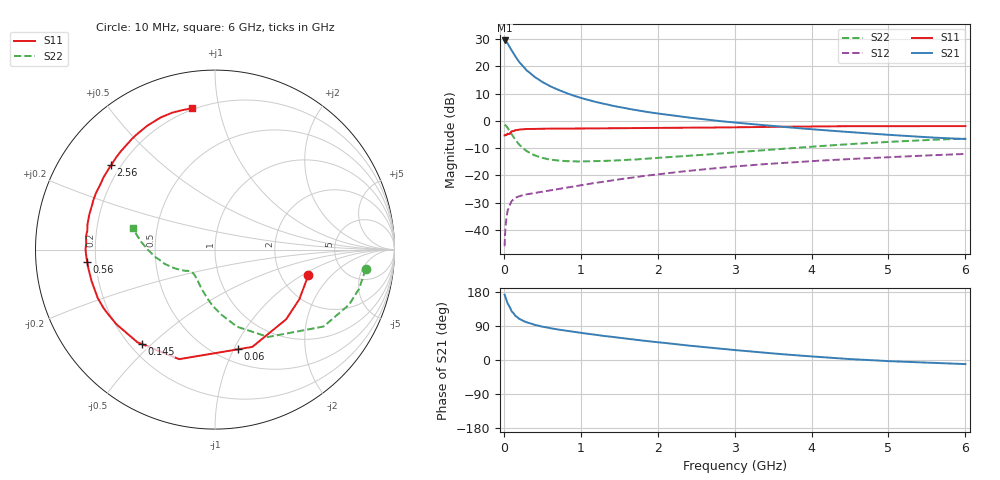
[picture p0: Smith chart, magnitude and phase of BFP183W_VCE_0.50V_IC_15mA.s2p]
! Infineon Technologies  Discrete & RF Semiconductors
! BFP183W
! VCE = 0.50V,  IC =  15 mA
! Common Emitter S-Parameters:  Jan 2016
# GHz  S  MA  R  50
!  f  S11  S21  S12  S22
! GHz  MAG  ANG  MAG  ANG  MAG  ANG  MAG  ANG
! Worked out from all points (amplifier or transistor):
!   210 points, 10 MHz to 6 GHz, reference 50 ohm
!   highest |S21| = 29.5 dB at 10 MHz (marker M1)
!   |S21| within 3 dB of that: start of sweep to 87.6 MHz
!   unconditionally stable (mu >= 1): 548.9 MHz to end of sweep
!   at 185 MHz: K = 0.44, MSG = 25.0 dB, |S12| = -27.9 dB
!   at 1.52 GHz: K = 1.58, MAG = 8.7 dB, |S12| = -21.4 dB
!   at 6 GHz: K = 1.41, MAG = -1.1 dB, |S12| = -12.2 dB
!   S11 on the Smith chart (normalised r, x): 10 MHz: 2.82, -1.15; 60 MHz: 0.63, -1.04; 145 MHz: 0.25, -0.46; 560 MHz: 0.17, -0.05; 2.56 GHz: 0.16, +0.35; 6 GHz: 0.19, +0.83
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0.01  0.5393 -15.5  29.75 172.5  0.005 82.6  0.8464 -7.4
0.02  0.5452 -30.5  29.28 166.7  0.0104 76.4  0.8317 -15.3
0.03  0.5549 -44.4  28.62 160.5  0.0149 71.9  0.8072 -22.4
0.05  0.5806 -69.0  26.07 148.9  0.0225 61.2  0.7414 -35.3
0.06  0.57 -77.2  24.61 145.8  0.0245 57.0  0.6992 -39.0
0.1  0.6423 -108.1  19.77 129.0  0.0335 45.8  0.5698 -58.7
0.145  0.6661 -127.9  15.5 118.1  0.0382 38.5  0.4576 -72.1
0.15  0.6734 -130.0  15.07 116.5  0.0388 37.8  0.4471 -74.0
0.2  0.6887 -142.8  11.96 108.7  0.0412 33.5  0.3648 -84.3
0.26  0.7015 -152.6  9.566 102.6  0.0437 32.0  0.3047 -93.7
0.3  0.7069 -157.3  8.326 99.2  0.0447 31.1  0.2758 -98.8
0.4  0.7098 -165.7  6.363 92.8  0.0474 31.8  0.2321 -108.5
0.56  0.7154 -174.5  4.645 85.8  0.0516 34.5  0.1995 -118.6
0.8  0.7187 177.0  3.268 77.4  0.0587 38.8  0.1818 -128.6
1.02  0.72 171.1  2.581 71.2  0.0662 41.8  0.1794 -134.0
1.4  0.7269 162.5  1.903 61.2  0.0802 45.0  0.1863 -139.7
2.02  0.735 150.3  1.348 46.5  0.1048 46.4  0.2093 -146.1
2.56  0.7458 140.9  1.082 34.9  0.1267 44.7  0.2349 -152.5
3.1  0.7607 131.8  0.901 24.5  0.1486 41.9  0.2686 -159.8
4.1  0.7878 117.3  0.682 8.2  0.1851 35.5  0.342 -174.3
5.1  0.7988 106.5  0.541 -3.8  0.2177 28.6  0.4162 173.4
6  0.7979 99.1  0.462 -10.8  0.2464 22.8  0.4709 165.0
